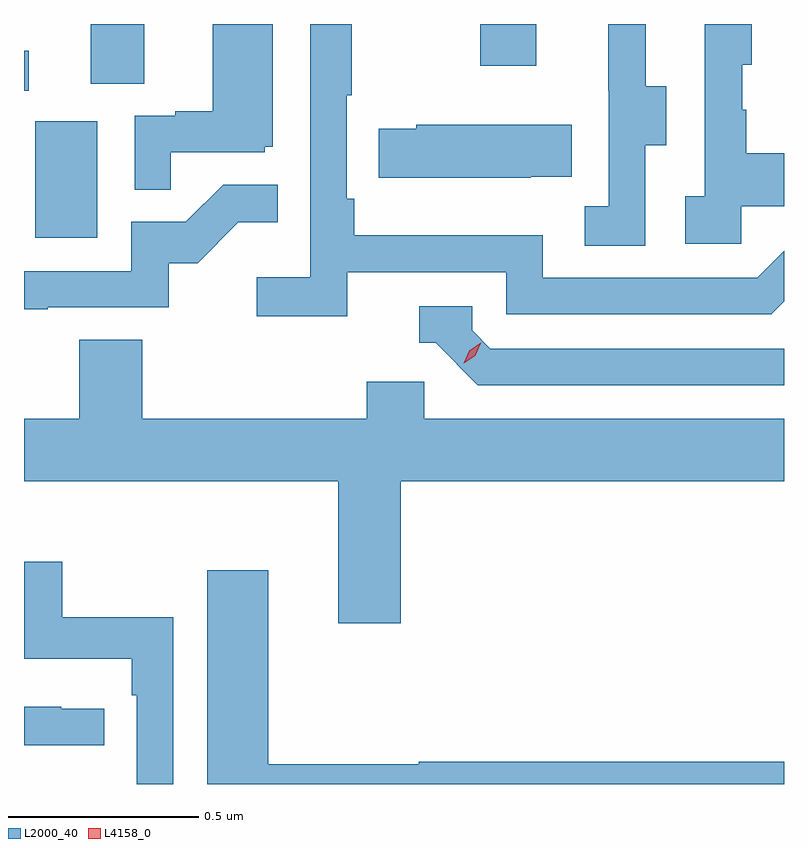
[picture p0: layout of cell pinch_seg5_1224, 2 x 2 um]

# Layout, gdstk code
import gdstk
lib = gdstk.Library(unit=1e-6, precision=1e-09)
def R(c, l, rs):  # rectangles x0, y0, x1, y1
    for r in rs: c.add(gdstk.rectangle(r[:2], r[2:], *l))
def P(c, l, *ps):  # polygons
    for p in ps: c.add(gdstk.Polygon(p, *l))
L2000_40 = (2000, 40)
L4158_0 = (4158, 0)

pinch_seg5_1224 = lib.new_cell('pinch_seg5_1224')
R(pinch_seg5_1224, L2000_40, [(823.55,850.74,823.714,851.047), (823.521,851.127,823.534,851.233), (823.697,851.146,823.837,851.303), (824.722,851.193,824.869,851.303)])
P(pinch_seg5_1224, L2000_40, [(825.408,850.823),(825.521,850.823),(825.521,850.963),(825.421,850.963),(825.421,851.078),(825.411,851.078),(825.411,851.196),(825.436,851.196),(825.436,851.303),(825.312,851.303),(825.312,850.85),(825.261,850.85),(825.261,850.725),(825.408,850.725)],
  [(825.156,850.984),(825.211,850.984),(825.211,851.139),(825.157,851.139),(825.157,851.303),(825.059,851.303),(825.059,851.127),(825.06,851.127),(825.06,850.823),(824.997,850.823),(824.997,850.72),(825.156,850.72)],
  [(823.907,850.965),(824.154,850.965),(824.154,850.98),(824.176,850.98),(824.176,851.303),(824.018,851.303),(824.018,851.074),(823.919,851.074),(823.919,851.061),(823.812,851.061),(823.812,850.867),(823.907,850.867)],
  [(824.372,850.65),(824.79,850.65),(824.79,850.539),(825.487,850.539),(825.521,850.573),(825.521,850.706),(825.45,850.635),(824.886,850.635),(824.886,850.747),(824.39,850.747),(824.39,850.843),(824.37,850.843),(824.37,851.116),(824.383,851.116),(824.383,851.303),(824.274,851.303),(824.274,850.636),(824.133,850.636),(824.133,850.534),(824.372,850.534)],
  [(824.855,850.901),(824.963,850.901),(824.963,851.038),(824.553,851.038),(824.553,851.028),(824.455,851.028),(824.455,850.898),(824.855,850.898)],
  [(823.583,850.557),(823.902,850.557),(823.902,850.674),(823.978,850.674),(824.085,850.781),(824.189,850.781),(824.189,850.88),(824.045,850.88),(823.947,850.782),(823.803,850.782),(823.803,850.653),(823.521,850.653),(823.521,850.552),(823.583,850.552)],
  [(825.521,850.449),(824.748,850.449),(824.7,850.497),(824.7,850.56),(824.561,850.56),(824.561,850.464),(824.604,850.464),(824.715,850.353),(825.521,850.353)],
  [(824.423,850.362),(824.423,850.264),(823.832,850.264),(823.832,850.472),(823.667,850.472),(823.667,850.264),(823.521,850.264),(823.521,850.1),(824.348,850.1),(824.348,849.726),(824.512,849.726),(824.512,850.1),(825.521,850.1),(825.521,850.264),(824.574,850.264),(824.574,850.362)],
  [(823.914,849.742),(823.621,849.742),(823.621,849.888),(823.521,849.888),(823.521,849.632),(823.805,849.632),(823.805,849.536),(823.818,849.536),(823.818,849.303),(823.914,849.303)],
  [(825.521,849.362),(824.56,849.362),(824.56,849.355),(824.164,849.355),(824.164,849.865),(824.003,849.865),(824.003,849.303),(825.521,849.303)],
  [(823.732,849.501),(823.619,849.501),(823.619,849.506),(823.521,849.506),(823.521,849.405),(823.732,849.405)])
P(pinch_seg5_1224, L4158_0, [(824.678,850.41),(824.678,850.41),(824.693,850.443),(824.723,850.464),(824.723,850.464),(824.723,850.463),(824.708,850.43),(824.678,850.41)])

lib.write_gds('pinch_seg5_1224.gds')
